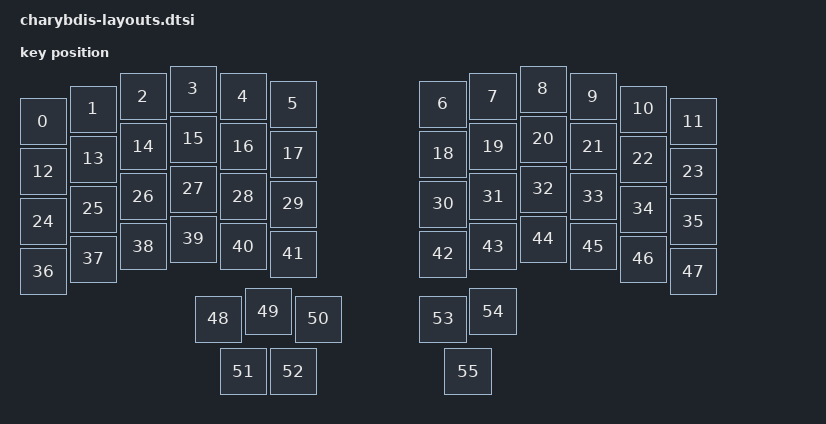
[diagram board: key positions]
#include <physical_layouts.dtsi>

/ {
    charybdis_layout: charybdis_layout {
        compatible = "zmk,physical-layout";
        display-name = "Charybdis Full - 5 left / 3 right thumbs";
        transform = <&default_transform>;
        kscan = <&kscan0>;
        keys
            = <&key_physical_attrs 100 100 0 65 0 0 0> // 0
            , <&key_physical_attrs 100 100 100 40 0 0 0> // 1
            , <&key_physical_attrs 100 100 200 15 0 0 0> // 2
            , <&key_physical_attrs 100 100 300 0 0 0 0> // 3
            , <&key_physical_attrs 100 100 400 15 0 0 0> // 4
            , <&key_physical_attrs 100 100 500 30 0 0 0> // 5
            , <&key_physical_attrs 100 100 800 30 0 0 0> // 6
            , <&key_physical_attrs 100 100 900 15 0 0 0> // 7
            , <&key_physical_attrs 100 100 1000 0 0 0 0> // 8
            , <&key_physical_attrs 100 100 1100 15 0 0 0> // 9
            , <&key_physical_attrs 100 100 1200 40 0 0 0> // 10
            , <&key_physical_attrs 100 100 1300 65 0 0 0> // 11
            , <&key_physical_attrs 100 100 0 165 0 0 0> // 12
            , <&key_physical_attrs 100 100 100 140 0 0 0> // 13
            , <&key_physical_attrs 100 100 200 115 0 0 0> // 14
            , <&key_physical_attrs 100 100 300 100 0 0 0> // 15
            , <&key_physical_attrs 100 100 400 115 0 0 0> // 16
            , <&key_physical_attrs 100 100 500 130 0 0 0> // 17
            , <&key_physical_attrs 100 100 800 130 0 0 0> // 18
            , <&key_physical_attrs 100 100 900 115 0 0 0> // 19
            , <&key_physical_attrs 100 100 1000 100 0 0 0> // 20
            , <&key_physical_attrs 100 100 1100 115 0 0 0> // 21
            , <&key_physical_attrs 100 100 1200 140 0 0 0> // 22
            , <&key_physical_attrs 100 100 1300 165 0 0 0> // 23
            , <&key_physical_attrs 100 100 0 265 0 0 0> // 24
            , <&key_physical_attrs 100 100 100 240 0 0 0> // 25
            , <&key_physical_attrs 100 100 200 215 0 0 0> // 26
            , <&key_physical_attrs 100 100 300 200 0 0 0> // 27
            , <&key_physical_attrs 100 100 400 215 0 0 0> // 28
            , <&key_physical_attrs 100 100 500 230 0 0 0> // 29
            , <&key_physical_attrs 100 100 800 230 0 0 0> // 30
            , <&key_physical_attrs 100 100 900 215 0 0 0> // 31
            , <&key_physical_attrs 100 100 1000 200 0 0 0> // 32
            , <&key_physical_attrs 100 100 1100 215 0 0 0> // 33
            , <&key_physical_attrs 100 100 1200 240 0 0 0> // 34
            , <&key_physical_attrs 100 100 1300 265 0 0 0> // 35
            , <&key_physical_attrs 100 100 0 365 0 0 0> // 36
            , <&key_physical_attrs 100 100 100 340 0 0 0> // 37
            , <&key_physical_attrs 100 100 200 315 0 0 0> // 38
            , <&key_physical_attrs 100 100 300 300 0 0 0> // 39
            , <&key_physical_attrs 100 100 400 315 0 0 0> // 40
            , <&key_physical_attrs 100 100 500 330 0 0 0> // 41
            , <&key_physical_attrs 100 100 800 330 0 0 0> // 42
            , <&key_physical_attrs 100 100 900 315 0 0 0> // 43
            , <&key_physical_attrs 100 100 1000 300 0 0 0> // 44
            , <&key_physical_attrs 100 100 1100 315 0 0 0> // 45
            , <&key_physical_attrs 100 100 1200 340 0 0 0> // 46
            , <&key_physical_attrs 100 100 1300 365 0 0 0> // 47
            , <&key_physical_attrs 100 100 350 460 0 0 0> // 48
            , <&key_physical_attrs 100 100 450 445 0 0 0> // 49
            , <&key_physical_attrs 100 100 550 460 0 0 0> // 50
            , <&key_physical_attrs 100 100 400 565 0 0 0> // 51
            , <&key_physical_attrs 100 100 500 565 0 0 0> // 52
            , <&key_physical_attrs 100 100 800 460 0 0 0> // 53
            , <&key_physical_attrs 100 100 900 445 0 0 0> // 54
            , <&key_physical_attrs 100 100 850 565 0 0 0> // 55
            ;
    };
};
